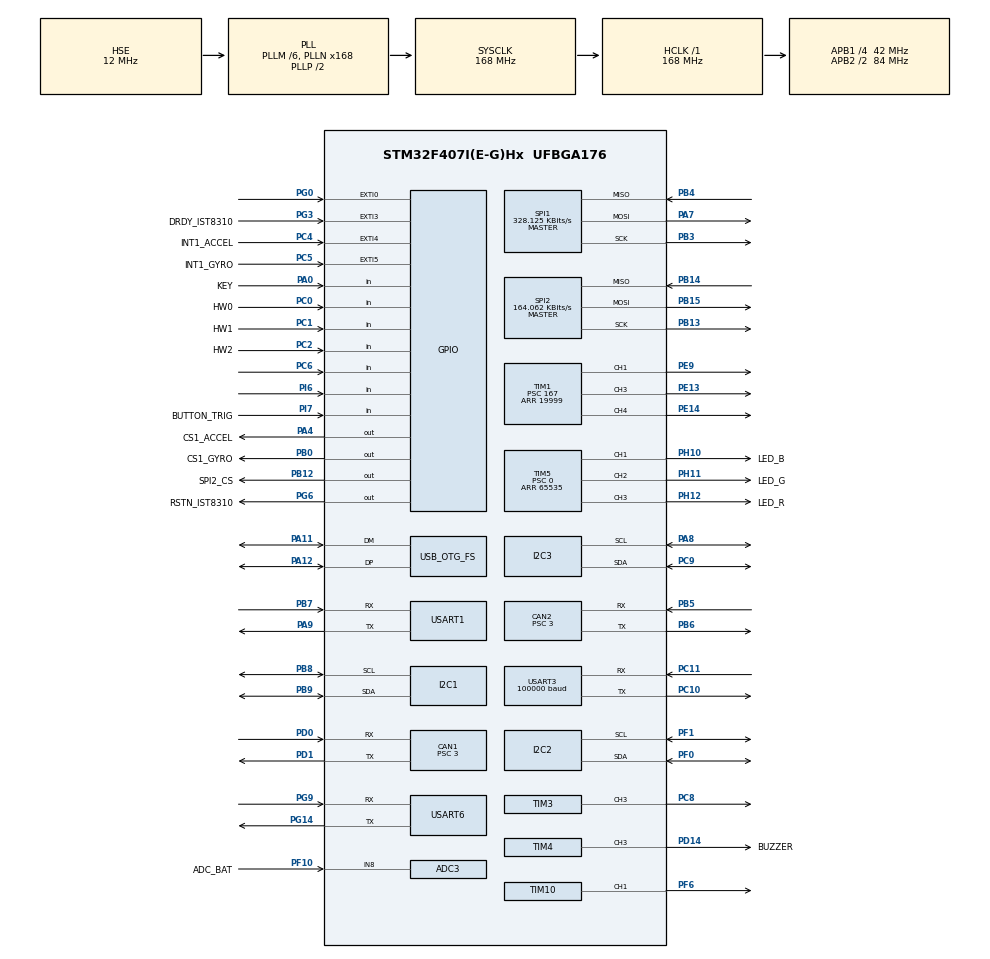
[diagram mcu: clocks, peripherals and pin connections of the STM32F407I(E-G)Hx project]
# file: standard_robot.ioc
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ADC1.Channel-0\#ChannelRegularConversion=ADC_CHANNEL_TEMPSENSOR
ADC1.ClockPrescaler=ADC_CLOCK_SYNC_PCLK_DIV6
ADC1.NbrOfConversionFlag=1
ADC1.Rank-0\#ChannelRegularConversion=1
ADC1.SamplingTime-0\#ChannelRegularConversion=ADC_SAMPLETIME_3CYCLES
ADC1.master=1
ADC3.Channel-0\#ChannelRegularConversion=ADC_CHANNEL_8
ADC3.ClockPrescaler=ADC_CLOCK_SYNC_PCLK_DIV6
ADC3.NbrOfConversionFlag=1
ADC3.Rank-0\#ChannelRegularConversion=1
ADC3.SamplingTime-0\#ChannelRegularConversion=ADC_SAMPLETIME_3CYCLES
CAN1.BS1=CAN_BS1_10TQ
CAN1.BS2=CAN_BS2_3TQ
CAN1.CalculateBaudRate=1000000
CAN1.CalculateTimeQuantum=71.42857142857143
CAN1.Prescaler=3
CAN2.BS1=CAN_BS1_10TQ
CAN2.BS2=CAN_BS2_3TQ
CAN2.CalculateBaudRate=1000000
CAN2.CalculateTimeQuantum=71.42857142857143
CAN2.Prescaler=3
Dma.I2C2_TX.2.Direction=DMA_MEMORY_TO_PERIPH
Dma.I2C2_TX.2.FIFOMode=DMA_FIFOMODE_DISABLE
Dma.I2C2_TX.2.Instance=DMA1_Stream7
Dma.I2C2_TX.2.MemDataAlignment=DMA_MDATAALIGN_BYTE
Dma.I2C2_TX.2.MemInc=DMA_MINC_ENABLE
Dma.I2C2_TX.2.Mode=DMA_NORMAL
Dma.I2C2_TX.2.PeriphDataAlignment=DMA_PDATAALIGN_BYTE
Dma.I2C2_TX.2.PeriphInc=DMA_PINC_DISABLE
Dma.I2C2_TX.2.Priority=DMA_PRIORITY_HIGH
Dma.Request0=SPI1_RX
Dma.Request1=SPI1_TX
Dma.Request2=I2C2_TX
Dma.Request3=USART3_RX
Dma.Request4=USART6_RX
Dma.Request5=USART6_TX
Dma.Request6=USART1_TX
Dma.Request7=USART1_RX
Dma.SPI1_RX.0.Direction=DMA_PERIPH_TO_MEMORY
Dma.SPI1_RX.0.FIFOMode=DMA_FIFOMODE_DISABLE
Dma.SPI1_RX.0.Instance=DMA2_Stream2
Dma.SPI1_RX.0.MemDataAlignment=DMA_MDATAALIGN_BYTE
Dma.SPI1_RX.0.MemInc=DMA_MINC_ENABLE
Dma.SPI1_RX.0.Mode=DMA_NORMAL
Dma.SPI1_RX.0.PeriphDataAlignment=DMA_PDATAALIGN_BYTE
Dma.SPI1_RX.0.PeriphInc=DMA_PINC_DISABLE
Dma.SPI1_RX.0.Priority=DMA_PRIORITY_VERY_HIGH
Dma.SPI1_TX.1.Direction=DMA_MEMORY_TO_PERIPH
Dma.SPI1_TX.1.FIFOMode=DMA_FIFOMODE_DISABLE
Dma.SPI1_TX.1.Instance=DMA2_Stream3
Dma.SPI1_TX.1.MemDataAlignment=DMA_MDATAALIGN_BYTE
Dma.SPI1_TX.1.MemInc=DMA_MINC_ENABLE
Dma.SPI1_TX.1.Mode=DMA_NORMAL
Dma.SPI1_TX.1.PeriphDataAlignment=DMA_PDATAALIGN_BYTE
Dma.SPI1_TX.1.PeriphInc=DMA_PINC_DISABLE
Dma.SPI1_TX.1.Priority=DMA_PRIORITY_HIGH
Dma.USART1_RX.7.Direction=DMA_PERIPH_TO_MEMORY
Dma.USART1_RX.7.FIFOMode=DMA_FIFOMODE_DISABLE
Dma.USART1_RX.7.Instance=DMA2_Stream5
Dma.USART1_RX.7.MemDataAlignment=DMA_MDATAALIGN_BYTE
Dma.USART1_RX.7.MemInc=DMA_MINC_ENABLE
Dma.USART1_RX.7.Mode=DMA_NORMAL
Dma.USART1_RX.7.PeriphDataAlignment=DMA_PDATAALIGN_BYTE
Dma.USART1_RX.7.PeriphInc=DMA_PINC_DISABLE
Dma.USART1_RX.7.Priority=DMA_PRIORITY_MEDIUM
Dma.USART1_TX.6.Direction=DMA_MEMORY_TO_PERIPH
Dma.USART1_TX.6.FIFOMode=DMA_FIFOMODE_DISABLE
Dma.USART1_TX.6.Instance=DMA2_Stream7
Dma.USART1_TX.6.MemDataAlignment=DMA_MDATAALIGN_BYTE
Dma.USART1_TX.6.MemInc=DMA_MINC_ENABLE
Dma.USART1_TX.6.Mode=DMA_NORMAL
Dma.USART1_TX.6.PeriphDataAlignment=DMA_PDATAALIGN_BYTE
Dma.USART1_TX.6.PeriphInc=DMA_PINC_DISABLE
Dma.USART1_TX.6.Priority=DMA_PRIORITY_MEDIUM
Dma.USART3_RX.3.Direction=DMA_PERIPH_TO_MEMORY
Dma.USART3_RX.3.FIFOMode=DMA_FIFOMODE_DISABLE
Dma.USART3_RX.3.Instance=DMA1_Stream1
Dma.USART3_RX.3.MemDataAlignment=DMA_MDATAALIGN_BYTE
Dma.USART3_RX.3.MemInc=DMA_MINC_ENABLE
Dma.USART3_RX.3.Mode=DMA_NORMAL
Dma.USART3_RX.3.PeriphDataAlignment=DMA_PDATAALIGN_BYTE
Dma.USART3_RX.3.PeriphInc=DMA_PINC_DISABLE
Dma.USART3_RX.3.Priority=DMA_PRIORITY_HIGH
Dma.USART6_RX.4.Direction=DMA_PERIPH_TO_MEMORY
Dma.USART6_RX.4.FIFOMode=DMA_FIFOMODE_DISABLE
Dma.USART6_RX.4.Instance=DMA2_Stream1
Dma.USART6_RX.4.MemDataAlignment=DMA_MDATAALIGN_BYTE
Dma.USART6_RX.4.MemInc=DMA_MINC_ENABLE
Dma.USART6_RX.4.Mode=DMA_NORMAL
Dma.USART6_RX.4.PeriphDataAlignment=DMA_PDATAALIGN_BYTE
Dma.USART6_RX.4.PeriphInc=DMA_PINC_DISABLE
Dma.USART6_RX.4.Priority=DMA_PRIORITY_HIGH
Dma.USART6_TX.5.Direction=DMA_MEMORY_TO_PERIPH
Dma.USART6_TX.5.FIFOMode=DMA_FIFOMODE_DISABLE
Dma.USART6_TX.5.Instance=DMA2_Stream6
Dma.USART6_TX.5.MemDataAlignment=DMA_MDATAALIGN_BYTE
Dma.USART6_TX.5.MemInc=DMA_MINC_ENABLE
Dma.USART6_TX.5.Mode=DMA_NORMAL
Dma.USART6_TX.5.PeriphDataAlignment=DMA_PDATAALIGN_BYTE
Dma.USART6_TX.5.PeriphInc=DMA_PINC_DISABLE
Dma.USART6_TX.5.Priority=DMA_PRIORITY_MEDIUM
FREERTOS.INCLUDE_eTaskGetState=1
FREERTOS.INCLUDE_pcTaskGetTaskName=1
FREERTOS.INCLUDE_uxTaskGetStackHighWaterMark=1
FREERTOS.INCLUDE_vTaskCleanUpResources=1
FREERTOS.INCLUDE_vTaskDelayUntil=1
FREERTOS.INCLUDE_xEventGroupSetBitFromISR=1
FREERTOS.INCLUDE_xQueueGetMutexHolder=1
FREERTOS.INCLUDE_xSemaphoreGetMutexHolder=1
FREERTOS.INCLUDE_xTaskAbortDelay=1
FREERTOS.INCLUDE_xTaskGetCurrentTaskHandle=1
FREERTOS.INCLUDE_xTaskGetHandle=1
FREERTOS.INCLUDE_xTimerPendFunctionCall=1
FREERTOS.Tasks01=test,24,128,test_task,As weak,NULL,Dynamic,NULL,NULL
FREERTOS.configTOTAL_HEAP_SIZE=24576
I2C1.I2C_Mode=I2C_Fast
I2C2.I2C_Mode=I2C_Fast
I2C3.I2C_Mode=I2C_Fast
Mcu.Family=STM32F4
Mcu.Name=STM32F407I(E-G)Hx
Mcu.Package=UFBGA176
NVIC.CAN1_RX0_IRQn=true\:6\:0\:true\:false\:true\:true\:true\:true\:true
NVIC.CAN2_RX0_IRQn=true\:6\:0\:true\:false\:true\:true\:true\:true\:true
NVIC.DMA1_Stream1_IRQn=true\:5\:0\:true\:false\:false\:true\:false\:false\:true
NVIC.DMA1_Stream7_IRQn=true\:5\:0\:true\:false\:false\:true\:false\:true\:true
NVIC.DMA2_Stream1_IRQn=true\:5\:0\:true\:false\:true\:true\:false\:true\:true
NVIC.DMA2_Stream2_IRQn=true\:5\:0\:true\:false\:false\:true\:false\:true\:true
NVIC.DMA2_Stream3_IRQn=true\:5\:0\:true\:false\:false\:true\:false\:true\:true
NVIC.DMA2_Stream5_IRQn=true\:5\:0\:false\:false\:true\:true\:false\:true\:true
NVIC.DMA2_Stream6_IRQn=true\:5\:0\:true\:false\:true\:true\:false\:true\:true
NVIC.DMA2_Stream7_IRQn=true\:5\:0\:true\:false\:true\:true\:false\:true\:true
NVIC.EXTI0_IRQn=true\:6\:0\:true\:false\:true\:true\:true\:true\:true
NVIC.EXTI3_IRQn=true\:5\:0\:true\:false\:true\:true\:true\:true\:true
NVIC.EXTI4_IRQn=true\:5\:0\:true\:false\:true\:true\:true\:true\:true
NVIC.EXTI9_5_IRQn=true\:5\:0\:true\:false\:true\:true\:true\:true\:true
NVIC.OTG_FS_IRQn=true\:5\:0\:false\:false\:true\:true\:false\:true\:true
NVIC.PriorityGroup=NVIC_PRIORITYGROUP_4
NVIC.USART1_IRQn=true\:5\:0\:false\:false\:true\:true\:true\:true\:true
NVIC.USART3_IRQn=true\:4\:0\:true\:false\:false\:false\:true\:true\:true
NVIC.USART6_IRQn=true\:5\:0\:true\:false\:false\:true\:true\:true\:true
PA0-WKUP.GPIO_Label=KEY
PA0-WKUP.GPIO_PuPd=GPIO_PULLUP
PA0-WKUP.Signal=GPIO_Input
PA11.Mode=Device_Only
PA11.Signal=USB_OTG_FS_DM
PA12.Mode=Device_Only
PA12.Signal=USB_OTG_FS_DP
PA13.Mode=Serial_Wire
PA13.Signal=SYS_JTMS-SWDIO
PA14.Mode=Serial_Wire
PA14.Signal=SYS_JTCK-SWCLK
PA4.GPIO_Label=CS1_ACCEL
PA4.GPIO_PuPd=GPIO_PULLUP
PA4.GPIO_Speed=GPIO_SPEED_FREQ_HIGH
PA4.PinState=GPIO_PIN_SET
PA4.Signal=GPIO_Output
PA7.GPIO_PuPd=GPIO_PULLUP
PA7.Mode=Full_Duplex_Master
PA7.Signal=SPI1_MOSI
PA8.GPIO_Pu=GPIO_PULLUP
PA8.Mode=I2C
PA8.Signal=I2C3_SCL
PA9.Mode=Asynchronous
PA9.Signal=USART1_TX
PB0.GPIO_Label=CS1_GYRO
PB0.GPIO_PuPd=GPIO_PULLUP
PB0.GPIO_Speed=GPIO_SPEED_FREQ_HIGH
PB0.PinState=GPIO_PIN_SET
PB0.Signal=GPIO_Output
PB12.GPIO_Label=SPI2_CS
PB12.GPIO_PuPd=GPIO_PULLUP
PB12.GPIO_Speed=GPIO_SPEED_FREQ_MEDIUM
PB12.PinState=GPIO_PIN_SET
PB12.Signal=GPIO_Output
PB13.GPIO_PuPd=GPIO_PULLUP
PB13.Mode=Full_Duplex_Master
PB13.Signal=SPI2_SCK
PB14.GPIO_PuPd=GPIO_PULLUP
PB14.Mode=Full_Duplex_Master
PB14.Signal=SPI2_MISO
PB15.GPIO_PuPd=GPIO_PULLUP
PB15.Mode=Full_Duplex_Master
PB15.Signal=SPI2_MOSI
PB3.GPIO_PuPd=GPIO_PULLUP
PB3.Mode=Full_Duplex_Master
PB3.Signal=SPI1_SCK
PB4.GPIO_PuPd=GPIO_PULLUP
PB4.Mode=Full_Duplex_Master
PB4.Signal=SPI1_MISO
PB5.Mode=CAN_Activate
PB5.Signal=CAN2_RX
PB6.Mode=CAN_Activate
PB6.Signal=CAN2_TX
PB7.Mode=Asynchronous
PB7.Signal=USART1_RX
PB8.GPIO_Pu=GPIO_PULLUP
PB8.Mode=I2C
PB8.Signal=I2C1_SCL
PB9.GPIO_Pu=GPIO_PULLUP
PB9.Mode=I2C
PB9.Signal=I2C1_SDA
PC0.GPIO_Label=HW0
PC0.Signal=GPIO_Input
PC1.GPIO_Label=HW1
PC1.Signal=GPIO_Input
PC10.Mode=Asynchronous
PC10.Signal=USART3_TX
PC11.Mode=Asynchronous
PC11.Signal=USART3_RX
PC2.GPIO_Label=HW2
PC2.Signal=GPIO_Input
PC4.GPIO_Label=INT1_ACCEL
PC4.GPIO_ModeDefaultEXTI=GPIO_MODE_IT_FALLING
PC4.GPIO_PuPd=GPIO_PULLUP
PC4.Signal=GPXTI4
PC5.GPIO_Label=INT1_GYRO
PC5.GPIO_ModeDefaultEXTI=GPIO_MODE_IT_FALLING
PC5.GPIO_PuPd=GPIO_PULLUP
PC5.Signal=GPXTI5
PC6.Signal=GPIO_Input
PC8.GPIO_PuPd=GPIO_PULLUP
PC8.GPIO_Speed=GPIO_SPEED_FREQ_HIGH
PC8.Signal=S_TIM3_CH3
PC9.GPIO_Pu=GPIO_PULLUP
PC9.Mode=I2C
PC9.Signal=I2C3_SDA
PD0.Mode=CAN_Activate
PD0.Signal=CAN1_RX
PD1.Mode=CAN_Activate
PD1.Signal=CAN1_TX
PD14.GPIO_Label=BUZZER
PD14.GPIO_PuPd=GPIO_PULLUP
PD14.GPIO_Speed=GPIO_SPEED_FREQ_VERY_HIGH
PD14.Signal=S_TIM4_CH3
PE11.Signal=S_TIM1_CH2
PE13.GPIO_PuPd=GPIO_PULLUP
PE13.GPIO_Speed=GPIO_SPEED_FREQ_HIGH
PE13.Signal=S_TIM1_CH3
PE14.GPIO_PuPd=GPIO_PULLUP
PE14.GPIO_Speed=GPIO_SPEED_FREQ_HIGH
PE14.Signal=S_TIM1_CH4
PE9.GPIO_PuPd=GPIO_PULLUP
PE9.GPIO_Speed=GPIO_SPEED_FREQ_HIGH
PE9.Signal=S_TIM1_CH1
PF0.GPIO_Pu=GPIO_PULLUP
PF0.Mode=I2C
PF0.Signal=I2C2_SDA
PF1.GPIO_Pu=GPIO_PULLUP
PF1.Mode=I2C
PF1.Signal=I2C2_SCL
PF10.GPIO_Label=ADC_BAT
PF10.Mode=IN8
PF10.Signal=ADC3_IN8
PF6.GPIO_PuPd=GPIO_PULLUP
PF6.GPIO_Speed=GPIO_SPEED_FREQ_HIGH
PF6.Signal=S_TIM10_CH1
PG0.GPIO_ModeDefaultEXTI=GPIO_MODE_IT_FALLING
PG0.GPIO_PuPd=GPIO_PULLUP
PG0.Signal=GPXTI0
PG14.Mode=Asynchronous
PG14.Signal=USART6_TX
PG3.GPIO_Label=DRDY_IST8310
PG3.GPIO_ModeDefaultEXTI=GPIO_MODE_IT_FALLING
PG3.GPIO_PuPd=GPIO_PULLUP
PG3.Signal=GPXTI3
PG6.GPIO_Label=RSTN_IST8310
PG6.GPIO_PuPd=GPIO_PULLUP
PG6.GPIO_Speed=GPIO_SPEED_FREQ_MEDIUM
PG6.PinState=GPIO_PIN_SET
PG6.Signal=GPIO_Output
PG9.Mode=Asynchronous
PG9.Signal=USART6_RX
PH0-OSC_IN.Mode=HSE-External-Oscillator
PH0-OSC_IN.Signal=RCC_OSC_IN
PH1-OSC_OUT.Mode=HSE-External-Oscillator
PH1-OSC_OUT.Signal=RCC_OSC_OUT
PH10.GPIO_Label=LED_B
PH10.GPIO_PuPd=GPIO_PULLUP
PH10.GPIO_Speed=GPIO_SPEED_FREQ_HIGH
PH10.Signal=S_TIM5_CH1
PH11.GPIO_Label=LED_G
PH11.GPIO_PuPd=GPIO_PULLUP
PH11.GPIO_Speed=GPIO_SPEED_FREQ_HIGH
PH11.Signal=S_TIM5_CH2
PH12.GPIO_Label=LED_R
PH12.GPIO_PuPd=GPIO_PULLUP
PH12.GPIO_Speed=GPIO_SPEED_FREQ_HIGH
PH12.Signal=S_TIM5_CH3
PI6.GPIO_PuPd=GPIO_PULLUP
PI6.Signal=GPIO_Input
PI7.GPIO_Label=BUTTON_TRIG
PI7.GPIO_PuPd=GPIO_PULLUP
PI7.Signal=GPIO_Input
ProjectManager.HeapSize=0x2000
ProjectManager.StackSize=0x2000
ProjectManager.TargetToolchain=MDK-ARM V5
RCC.48MHZClocksFreq_Value=48000000
RCC.AHBFreq_Value=168000000
RCC.APB1CLKDivider=RCC_HCLK_DIV4
RCC.APB1Freq_Value=42000000
RCC.APB1TimFreq_Value=84000000
RCC.APB2CLKDivider=RCC_HCLK_DIV2
RCC.APB2Freq_Value=84000000
RCC.APB2TimFreq_Value=168000000
RCC.CortexFreq_Value=168000000
RCC.HCLKFreq_Value=168000000
RCC.HSE_VALUE=12000000
RCC.HSI_VALUE=16000000
RCC.LSE_VALUE=32768
RCC.PLLM=6
RCC.PLLN=168
RCC.PLLQ=7
RCC.RCC_RTC_Clock_SourceVirtual=RCC_RTCCLKSOURCE_HSE_DIV30
RCC.RCC_RTC_Clock_Source_FROM_HSE=RCC_RTCCLKSOURCE_HSE_DIV30
RCC.SYSCLKFreq_VALUE=168000000
RCC.SYSCLKSource=RCC_SYSCLKSOURCE_PLLCLK
RCC.VCOOutputFreq_Value=336000000
RTC.AsynchPrediv=124
RTC.SynchPrediv=3199
SH.S_TIM10_CH1.0=TIM10_CH1,PWM Generation1 CH1
SH.S_TIM1_CH1.0=TIM1_CH1,PWM Generation1 CH1
SH.S_TIM1_CH2.0=TIM1_CH2
SH.S_TIM1_CH3.0=TIM1_CH3,PWM Generation3 CH3
SH.S_TIM1_CH4.0=TIM1_CH4,PWM Generation4 CH4
SH.S_TIM3_CH3.0=TIM3_CH3,PWM Generation3 CH3
SH.S_TIM4_CH3.0=TIM4_CH3,PWM Generation3 CH3
SH.S_TIM5_CH1.0=TIM5_CH1,PWM Generation1 CH1
SH.S_TIM5_CH2.0=TIM5_CH2,PWM Generation2 CH2
SH.S_TIM5_CH3.0=TIM5_CH3,PWM Generation3 CH3
SPI1.BaudRatePrescaler=SPI_BAUDRATEPRESCALER_256
SPI1.CLKPhase=SPI_PHASE_2EDGE
SPI1.CLKPolarity=SPI_POLARITY_HIGH
SPI1.CalculateBaudRate=328.125 KBits/s
SPI1.Direction=SPI_DIRECTION_2LINES
SPI1.Mode=SPI_MODE_MASTER
SPI1.VirtualType=VM_MASTER
SPI2.BaudRatePrescaler=SPI_BAUDRATEPRESCALER_256
SPI2.CLKPhase=SPI_PHASE_2EDGE
SPI2.CLKPolarity=SPI_POLARITY_HIGH
SPI2.CalculateBaudRate=164.062 KBits/s
SPI2.Direction=SPI_DIRECTION_2LINES
SPI2.Mode=SPI_MODE_MASTER
SPI2.VirtualType=VM_MASTER
TIM1.Channel-PWM\ Generation1\ CH1=TIM_CHANNEL_1
TIM1.Channel-PWM\ Generation3\ CH3=TIM_CHANNEL_3
TIM1.Channel-PWM\ Generation4\ CH4=TIM_CHANNEL_4
TIM1.Period=19999
TIM1.Prescaler=167
TIM1.Pulse-PWM\ Generation1\ CH1=1000
TIM1.Pulse-PWM\ Generation3\ CH3=1000
TIM1.Pulse-PWM\ Generation4\ CH4=1000
TIM10.Channel=TIM_CHANNEL_1
TIM10.Period=4999
TIM3.Channel-PWM\ Generation3\ CH3=TIM_CHANNEL_3
TIM3.Period=8399
TIM4.Channel-PWM\ Generation3\ CH3=TIM_CHANNEL_3
TIM4.Period=65535
TIM4.Prescaler=167
TIM5.Channel-PWM\ Generation1\ CH1=TIM_CHANNEL_1
TIM5.Channel-PWM\ Generation2\ CH2=TIM_CHANNEL_2
TIM5.Channel-PWM\ Generation3\ CH3=TIM_CHANNEL_3
TIM5.Period=65535
TIM5.Prescaler=0
TIM8.Period=19999
TIM8.Prescaler=167
USART1.VirtualMode=VM_ASYNC
USART3.BaudRate=100000
USART3.Parity=PARITY_EVEN
USART3.VirtualMode=VM_ASYNC
USART6.VirtualMode=VM_ASYNC
USB_DEVICE.CLASS_NAME_FS=CDC
USB_DEVICE.VirtualMode-CDC_FS=Cdc
USB_DEVICE.VirtualModeFS=Cdc_FS
USB_OTG_FS.VirtualMode=Device_Only
VP_ADC1_TempSens_Input.Mode=IN-TempSens
VP_ADC1_Vref_Input.Mode=IN-Vrefint
VP_CRC_VS_CRC.Mode=CRC_Activate
VP_FREERTOS_VS_CMSIS_V1.Mode=CMSIS_V1
VP_RNG_VS_RNG.Mode=RNG_Activate
VP_RTC_VS_RTC_Activate.Mode=RTC_Enabled
VP_TIM10_VS_ClockSourceINT.Mode=Enable_Timer
VP_TIM1_VS_ClockSourceINT.Mode=Internal
VP_TIM3_VS_ClockSourceINT.Mode=Internal
VP_TIM4_VS_ClockSourceINT.Mode=Internal
VP_TIM5_VS_ClockSourceINT.Mode=Internal
VP_TIM8_VS_ClockSourceINT.Mode=Internal
VP_USB_DEVICE_VS_USB_DEVICE_CDC_FS.Mode=CDC_FS
board=custom

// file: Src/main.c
/* USER CODE BEGIN Header */
/**
 ******************************************************************************
 * @file           : main.c
 * @brief          : Main program body
 ******************************************************************************
 * @attention
 *
 * <h2><center>&copy; Copyright (c) 2019 STMicroelectronics.
 * All rights reserved.</center></h2>
 *
 * This software component is licensed by ST under Ultimate Liberty license
 * SLA0044, the "License"; You may not use this file except in compliance with
 * the License. You may obtain a copy of the License at:
 *                             www.st.com/SLA0044
 *
 ******************************************************************************
 */
/* USER CODE END Header */
#include "main.h"
#include "cmsis_os.h"
#include "adc.h"
#include "can.h"
#include "crc.h"
#include "dma.h"
#include "i2c.h"
#include "rng.h"
#include "rtc.h"
#include "spi.h"
#include "tim.h"
#include "usart.h"
#include "usb_device.h"
#include "gpio.h"

/* USER CODE BEGIN Includes */
#include "bsp_can.h"
#include "bsp_delay.h"
#include "bsp_usart.h"
#include "remote_control.h"

#include "calibrate_task.h"
#include "chassis_task.h"
#include "detect_task.h"
#include "gimbal_task.h"
#include "INS_task.h"
#include "led_flow_task.h"
// #include "oled_task.h"
#include "referee_usart_task.h"
#include "usb_task.h"
#include "voltage_task.h"
/* USER CODE END Includes */

void SystemClock_Config(void);
void MX_FREERTOS_Init(void);

int main(void)
{

  /* MCU Configuration--------------------------------------------------------*/

  /* Reset of all peripherals, Initializes the Flash interface and the Systick. */
  HAL_Init();

  /* Configure the system clock */
  SystemClock_Config();

  /* Initialize all configured peripherals */
  MX_GPIO_Init();
  MX_DMA_Init();
  MX_ADC1_Init();
  MX_ADC3_Init();
  MX_CAN1_Init();
  MX_CAN2_Init();
  MX_I2C1_Init();
  MX_SPI1_Init();
  MX_TIM4_Init();
  MX_TIM5_Init();
  MX_USART3_UART_Init();
  MX_TIM8_Init();
  MX_CRC_Init();
  MX_RNG_Init();
  MX_I2C2_Init();
  MX_I2C3_Init();
  MX_RTC_Init();
  MX_SPI2_Init();
  MX_TIM1_Init();
  MX_TIM3_Init();
  MX_TIM10_Init();
  MX_USART1_UART_Init();
  MX_USART6_UART_Init();
  /* USER CODE BEGIN 2 */
	can_filter_init();
	delay_init();
	cali_param_init();
	remote_control_init();
	// usart1_tx_dma_init();
  /* USER CODE END 2 */

  /* Call init function for freertos objects (in freertos.c) */
  MX_FREERTOS_Init();

  /* Start scheduler */
  osKernelStart();
  /* We should never get here as control is now taken by the scheduler */
  /* Infinite loop */
	while (1)
	{

	}
}

void SystemClock_Config(void)
{
  RCC_OscInitTypeDef RCC_OscInitStruct = {0};
  RCC_ClkInitTypeDef RCC_ClkInitStruct = {0};

  /** Configure the main internal regulator output voltage
  */
  __HAL_RCC_PWR_CLK_ENABLE();
  __HAL_PWR_VOLTAGESCALING_CONFIG(PWR_REGULATOR_VOLTAGE_SCALE1);

  /** Initializes the RCC Oscillators according to the specified parameters
  * in the RCC_OscInitTypeDef structure.
  */
  RCC_OscInitStruct.OscillatorType = RCC_OSCILLATORTYPE_HSE;
  RCC_OscInitStruct.HSEState = RCC_HSE_ON;
  RCC_OscInitStruct.PLL.PLLState = RCC_PLL_ON;
  RCC_OscInitStruct.PLL.PLLSource = RCC_PLLSOURCE_HSE;
  RCC_OscInitStruct.PLL.PLLM = 6;
  RCC_OscInitStruct.PLL.PLLN = 168;
  RCC_OscInitStruct.PLL.PLLP = RCC_PLLP_DIV2;
  RCC_OscInitStruct.PLL.PLLQ = 7;
  if (HAL_RCC_OscConfig(&RCC_OscInitStruct) != HAL_OK)
  {
    Error_Handler();
  }

  /** Initializes the CPU, AHB and APB buses clocks
  */
  RCC_ClkInitStruct.ClockType = RCC_CLOCKTYPE_HCLK|RCC_CLOCKTYPE_SYSCLK
                              |RCC_CLOCKTYPE_PCLK1|RCC_CLOCKTYPE_PCLK2;
  RCC_ClkInitStruct.SYSCLKSource = RCC_SYSCLKSOURCE_PLLCLK;
  RCC_ClkInitStruct.AHBCLKDivider = RCC_SYSCLK_DIV1;
  RCC_ClkInitStruct.APB1CLKDivider = RCC_HCLK_DIV4;
  RCC_ClkInitStruct.APB2CLKDivider = RCC_HCLK_DIV2;

  if (HAL_RCC_ClockConfig(&RCC_ClkInitStruct, FLASH_LATENCY_5) != HAL_OK)
  {
    Error_Handler();
  }
}

void Error_Handler(void)
{
}

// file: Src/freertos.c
/* USER CODE BEGIN Header */
/**
  ******************************************************************************
  * File Name          : freertos.c
  * Description        : Code for freertos applications
  ******************************************************************************
  * @attention
  *
  * <h2><center>&copy; Copyright (c) 2019 STMicroelectronics.
  * All rights reserved.</center></h2>
  *
  * This software component is licensed by ST under Ultimate Liberty license
  * SLA0044, the "License"; You may not use this file except in compliance with
  * the License. You may obtain a copy of the License at:
  *                             www.st.com/SLA0044
  *
  ******************************************************************************
  */
/* USER CODE END Header */

#include "FreeRTOS.h"
#include "task.h"
#include "main.h"
#include "cmsis_os.h"

/* USER CODE BEGIN Includes */

#include "calibrate_task.h"
#include "chassis_task.h"
#include "detect_task.h"
#include "gimbal_task.h"
#include "INS_task.h"
#include "led_flow_task.h"
// #include "oled_task.h"
#include "referee_usart_task.h"
#include "usb_task.h"
#include "voltage_task.h"
// #include "servo_task.h"

#include "cv_usart_task.h"
#include "vofa_task.h"

#include "referee_can_task.h"
#include "custom_ui_task.h"
/* USER CODE END Includes */

/* USER CODE BEGIN PTD */

osThreadId calibrate_tast_handle;
osThreadId chassisTaskHandle;
osThreadId detect_handle;
osThreadId gimbalTaskHandle;
osThreadId imuTaskHandle;
osThreadId led_RGB_flow_handle;
// osThreadId oled_handle;
osThreadId referee_usart_task_handle;
osThreadId usb_task_handle;
// osThreadId battery_voltage_handle;
// osThreadId servo_task_handle;

osThreadId cv_usart_task_handle;
osThreadId vofa_task_handle;

osThreadId custom_ui_task_handle;

osThreadId referee_can_task_handle;

/* USER CODE END PTD */

// osThreadId testHandle;

void test_task(void const * argument);

extern void MX_USB_DEVICE_Init(void);
void MX_FREERTOS_Init(void); /* (MISRA C 2004 rule 8.1) */

/* GetIdleTaskMemory prototype (linked to static allocation support) */
void vApplicationGetIdleTaskMemory( StaticTask_t **ppxIdleTaskTCBBuffer, StackType_t **ppxIdleTaskStackBuffer, uint32_t *pulIdleTaskStackSize );

/* GetTimerTaskMemory prototype (linked to static allocation support) */
void vApplicationGetTimerTaskMemory( StaticTask_t **ppxTimerTaskTCBBuffer, StackType_t **ppxTimerTaskStackBuffer, uint32_t *pulTimerTaskStackSize );

/* USER CODE BEGIN GET_IDLE_TASK_MEMORY */
static StaticTask_t xIdleTaskTCBBuffer;
static StackType_t xIdleStack[configMINIMAL_STACK_SIZE];

void vApplicationGetIdleTaskMemory( StaticTask_t **ppxIdleTaskTCBBuffer, StackType_t **ppxIdleTaskStackBuffer, uint32_t *pulIdleTaskStackSize )
{
  *ppxIdleTaskTCBBuffer = &xIdleTaskTCBBuffer;
  *ppxIdleTaskStackBuffer = &xIdleStack[0];
  *pulIdleTaskStackSize = configMINIMAL_STACK_SIZE;
  /* place for user code */
}
/* USER CODE END GET_IDLE_TASK_MEMORY */

/* USER CODE BEGIN GET_TIMER_TASK_MEMORY */
static StaticTask_t xTimerTaskTCBBuffer;
static StackType_t xTimerStack[configTIMER_TASK_STACK_DEPTH];

void vApplicationGetTimerTaskMemory( StaticTask_t **ppxTimerTaskTCBBuffer, StackType_t **ppxTimerTaskStackBuffer, uint32_t *pulTimerTaskStackSize )
{
  *ppxTimerTaskTCBBuffer = &xTimerTaskTCBBuffer;
  *ppxTimerTaskStackBuffer = &xTimerStack[0];
  *pulTimerTaskStackSize = configTIMER_TASK_STACK_DEPTH;
  /* place for user code */
}
/* USER CODE END GET_TIMER_TASK_MEMORY */

void MX_FREERTOS_Init(void) {

  /* Create the thread(s) */
  /* definition and creation of test */
  // osThreadDef(test, test_task, osPriorityNormal, 0, 128);
  // testHandle = osThreadCreate(osThread(test), NULL);

  /* USER CODE BEGIN RTOS_THREADS */
  /* add threads, ... */
    osThreadDef(cali, calibrate_task, osPriorityNormal, 0, 512);
    calibrate_tast_handle = osThreadCreate(osThread(cali), NULL);

    osThreadDef(ChassisTask, chassis_task, osPriorityAboveNormal, 0, 512);
    chassisTaskHandle = osThreadCreate(osThread(ChassisTask), NULL);

    osThreadDef(DETECT, detect_task, osPriorityNormal, 0, 256);
    detect_handle = osThreadCreate(osThread(DETECT), NULL);

    osThreadDef(gimbalTask, gimbal_task, osPriorityHigh, 0, 512);
    gimbalTaskHandle = osThreadCreate(osThread(gimbalTask), NULL);

    osThreadDef(imuTask, INS_task, osPriorityRealtime, 0, 1024);
    imuTaskHandle = osThreadCreate(osThread(imuTask), NULL);

    osThreadDef(led, led_RGB_flow_task, osPriorityBelowNormal, 0, 256);
    led_RGB_flow_handle = osThreadCreate(osThread(led), NULL);

    // osThreadDef(OLED, oled_task, osPriorityLow, 0, 256);
    // oled_handle = osThreadCreate(osThread(OLED), NULL);

#if CAN_PASS_REF_INFO
    osThreadDef(refree_can, referee_can_task, osPriorityNormal, 0, 128);
    referee_can_task_handle = osThreadCreate(osThread(refree_can), NULL);
#else
    osThreadDef(refree_uart, referee_usart_task, osPriorityNormal, 0, 128);
    referee_usart_task_handle = osThreadCreate(osThread(refree_uart), NULL);
#endif
    //osThreadDef(customUITask, custom_ui_task, osPriorityBelowNormal, 0, 512);
    //custom_ui_task_handle = osThreadCreate(osThread(customUITask), NULL);

  #if VOFA_UART_USE
    osThreadDef(vofaTask, vofa_task, osPriorityBelowNormal, 0, 512);
    vofa_task_handle = osThreadCreate(osThread(vofaTask), NULL);
  #else
    UNUSED(vofa_task_handle);
  #endif

    // osThreadDef(USBTask, usb_task, osPriorityNormal, 0, 128);
    // usb_task_handle = osThreadCreate(osThread(USBTask), NULL);

    // osThreadDef(BATTERY_VOLTAGE, battery_voltage_task, osPriorityNormal, 0, 128);
    // battery_voltage_handle = osThreadCreate(osThread(BATTERY_VOLTAGE), NULL);

    // osThreadDef(SERVO, servo_task, osPriorityNormal, 0, 128);
    // servo_task_handle = osThreadCreate(osThread(SERVO), NULL);
#if CV_INTERFACE
    osThreadDef(CVTask, cv_usart_task, osPriorityNormal, 0, 256);
    cv_usart_task_handle = osThreadCreate(osThread(CVTask), NULL);
#else
    UNUSED(cv_usart_task_handle);
#endif

  /* USER CODE END RTOS_THREADS */

}

__weak void test_task(void const * argument)
{
  /* init code for USB_DEVICE */
  MX_USB_DEVICE_Init();
  for(;;)
  {
    osDelay(1);
  }
}
